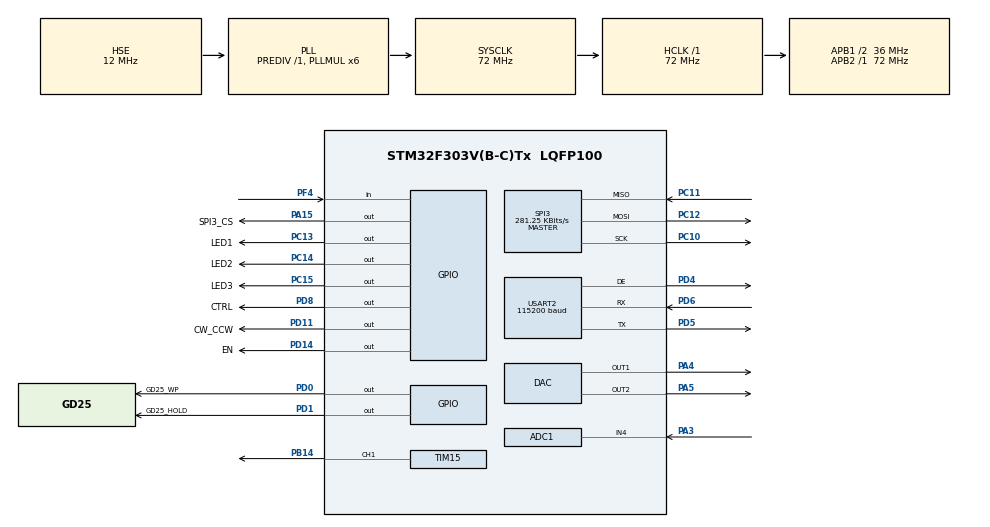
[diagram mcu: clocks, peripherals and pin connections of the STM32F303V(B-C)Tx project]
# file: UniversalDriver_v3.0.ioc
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ADC1.Channel-0\#ChannelRegularConversion=ADC_CHANNEL_4
ADC1.NbrOfConversionFlag=1
ADC1.Offset-0\#ChannelRegularConversion=0
ADC1.OffsetNumber-0\#ChannelRegularConversion=ADC_OFFSET_NONE
ADC1.Rank-0\#ChannelRegularConversion=1
ADC1.SamplingTime-0\#ChannelRegularConversion=ADC_SAMPLETIME_1CYCLE_5
ADC1.SamplingTimeOPAMP-0\#ChannelRegularConversion=ADC_SAMPLETIME_61CYCLES_5
ADC1.master=1
FREERTOS.INCLUDE_vTaskDelayUntil=1
FREERTOS.Tasks01=mainTask,0,512,MainTask,Default,NULL,Dynamic,NULL,NULL;modBus,0,512,ModBus,Default,NULL,Dynamic,NULL,NULL;Motor_pool,0,256,motor_pool,Default,NULL,Dynamic,NULL,NULL
FREERTOS.configTOTAL_HEAP_SIZE=20480
FREERTOS.configUSE_NEWLIB_REENTRANT=1
Mcu.Family=STM32F3
Mcu.Name=STM32F303V(B-C)Tx
Mcu.Package=LQFP100
NVIC.PriorityGroup=NVIC_PRIORITYGROUP_4
NVIC.TIM1_BRK_TIM15_IRQn=true\:5\:0\:false\:false\:true\:true\:true\:true\:true
NVIC.TIM1_TRG_COM_TIM17_IRQn=true\:5\:0\:false\:false\:true\:true\:true\:true\:true
NVIC.TIM4_IRQn=true\:5\:0\:false\:false\:true\:true\:true\:true\:true
NVIC.TIM6_DAC_IRQn=true\:5\:0\:false\:false\:true\:true\:true\:true\:true
NVIC.TIM7_IRQn=true\:0\:0\:false\:false\:true\:false\:false\:true\:true
NVIC.TimeBase=TIM7_IRQn
NVIC.TimeBaseIP=TIM7
NVIC.USART2_IRQn=true\:5\:0\:false\:false\:true\:true\:true\:true\:true
PA13.Mode=Serial_Wire
PA13.Signal=SYS_JTMS-SWDIO
PA14.Mode=Serial_Wire
PA14.Signal=SYS_JTCK-SWCLK
PA15.GPIO_Label=SPI3_CS
PA15.Signal=GPIO_Output
PA3.Mode=IN4-Single-Ended
PA3.Signal=ADC1_IN4
PA4.Signal=COMP_DAC1_group
PA5.Signal=COMP_DAC2_group
PB14.Signal=S_TIM15_CH1
PC10.Mode=Full_Duplex_Master
PC10.Signal=SPI3_SCK
PC11.Mode=Full_Duplex_Master
PC11.Signal=SPI3_MISO
PC12.Mode=Full_Duplex_Master
PC12.Signal=SPI3_MOSI
PC13.GPIO_Label=LED1
PC13.Signal=GPIO_Output
PC14-OSC32_IN.GPIO_Label=LED2
PC14-OSC32_IN.Signal=GPIO_Output
PC15-OSC32_OUT.GPIO_Label=LED3
PC15-OSC32_OUT.Signal=GPIO_Output
PD0.GPIO_Label=GD25_WP
PD0.Signal=GPIO_Output
PD1.GPIO_Label=GD25_HOLD
PD1.Signal=GPIO_Output
PD11.GPIO_Label=CW_CCW
PD11.Signal=GPIO_Output
PD14.GPIO_Label=EN
PD14.Signal=GPIO_Output
PD4.Mode=Hardware Flow Control (RS485)
PD4.Signal=USART2_DE
PD5.Mode=Asynchronous
PD5.Signal=USART2_TX
PD6.Mode=Asynchronous
PD6.Signal=USART2_RX
PD8.GPIO_Label=CTRL
PD8.Signal=GPIO_Output
PF0-OSC_IN.Mode=HSE-External-Oscillator
PF0-OSC_IN.Signal=RCC_OSC_IN
PF1-OSC_OUT.Mode=HSE-External-Oscillator
PF1-OSC_OUT.Signal=RCC_OSC_OUT
PF4.Signal=GPIO_Input
ProjectManager.HeapSize=0x1000
ProjectManager.StackSize=0x400
ProjectManager.TargetToolchain=STM32CubeIDE
RCC.AHBFreq_Value=72000000
RCC.APB1CLKDivider=RCC_HCLK_DIV2
RCC.APB1Freq_Value=36000000
RCC.APB1TimFreq_Value=72000000
RCC.APB2Freq_Value=72000000
RCC.APB2TimFreq_Value=72000000
RCC.CortexFreq_Value=72000000
RCC.HCLKFreq_Value=72000000
RCC.HSE_VALUE=12000000
RCC.HSI_VALUE=8000000
RCC.LSE_VALUE=32768
RCC.PLLMUL=RCC_PLL_MUL6
RCC.PLLSourceVirtual=RCC_PLLSOURCE_HSE
RCC.PRESCALERUSB=RCC_USBCLKSOURCE_PLL_DIV1_5
RCC.SYSCLKFreq_VALUE=72000000
RCC.SYSCLKSourceVirtual=RCC_SYSCLKSOURCE_PLLCLK
RCC.USBFreq_Value=48000000
SH.COMP_DAC1_group.0=DAC_OUT1,DAC_OUT1
SH.COMP_DAC2_group.0=DAC_OUT2,Enable_DAC_OUT2
SH.S_TIM15_CH1.0=TIM15_CH1,PWM Generation1 CH1
SPI3.BaudRatePrescaler=SPI_BAUDRATEPRESCALER_128
SPI3.CalculateBaudRate=281.25 KBits/s
SPI3.DataSize=SPI_DATASIZE_8BIT
SPI3.Direction=SPI_DIRECTION_2LINES
SPI3.Mode=SPI_MODE_MASTER
SPI3.VirtualType=VM_MASTER
TIM1.AutoReloadPreload=TIM_AUTORELOAD_PRELOAD_ENABLE
TIM1.Period=48000
TIM1.Prescaler=0
TIM1.TIM_MasterOutputTrigger=TIM_TRGO_OC1REF
TIM15.Channel-PWM\ Generation1\ CH1=TIM_CHANNEL_1
TIM15.Period=48000
TIM15.Prescaler=0
TIM4.Prescaler=1
TIM6.Prescaler=71
USART2.BaudRate=115200
USART2.VirtualMode-Asynchronous=VM_ASYNC
USART2.VirtualMode-Hardware\ Flow\ Control\ (RS485)=VM_ASYNC
VP_FREERTOS_VS_CMSIS_V1.Mode=CMSIS_V1
VP_SYS_VS_tim7.Mode=TIM7
VP_TIM15_VS_ClockSourceINT.Mode=Internal
VP_TIM16_VS_ClockSourceINT.Mode=Enable_Timer
VP_TIM17_VS_ClockSourceINT.Mode=Enable_Timer
VP_TIM1_VS_ClockSourceINT.Mode=Internal
VP_TIM4_VS_ClockSourceITR.Mode=TriggerSource_ITR0
VP_TIM4_VS_ControllerModeClock.Mode=Clock Mode
VP_TIM6_VS_ClockSourceINT.Mode=Enable_Timer
board=custom

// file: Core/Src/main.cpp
/* USER CODE BEGIN Header */
/**
******************************************************************************
* @file           : main.c
* @brief          : Main program body
******************************************************************************
* @attention
*
* <h2><center>&copy; Copyright (c) 2020 STMicroelectronics.
* All rights reserved.</center></h2>
*
* This software component is licensed by ST under Ultimate Liberty license
* SLA0044, the "License"; You may not use this file except in compliance with
* the License. You may obtain a copy of the License at:
*                             www.st.com/SLA0044
*
******************************************************************************
*/
/* USER CODE END Header */
#include "main.h"
#include "cmsis_os.h"
#include "adc.h"
#include "dac.h"
#include "spi.h"
#include "tim.h"
#include "usart.h"
#include "gpio.h"

/* USER CODE BEGIN Includes */
#include "motor.h"
#include "flash.h"
#include "Delay_us_DWT.h"
#include "LED.h"
/* USER CODE END Includes */

/* USER CODE BEGIN PM */
extern DAC_HandleTypeDef hdac;
/* USER CODE END PM */

/* USER CODE BEGIN PV */
char str_rx[21]; // для usb
uint32_t count_tic = 0; //для замеров времени выполнения кода
extern TIM_HandleTypeDef htim3;
extern TIM_HandleTypeDef htim4;
extern TIM_HandleTypeDef htim15;
extern TIM_HandleTypeDef htim6;
settings_t settings = {115200, 0x0D, 0};
bool resetSettings = false;

extern_driver ext_drive(&hdac, DAC_CHANNEL_1, &htim4, &htim15, TIM_CHANNEL_1, &htim6);
//BLDC_motor BLDC(&htim8, &htim1, &htim2, &htim3);
led LED_rs485;
led LED_error;
led LED_OSstart;

base_motor *pMotor;
/* USER CODE END PV */

void SystemClock_Config(void);
void MX_FREERTOS_Init(void);

int main(void)
{

  /* MCU Configuration--------------------------------------------------------*/

  /* Reset of all peripherals, Initializes the Flash interface and the Systick. */
  HAL_Init();

  /* Configure the system clock */
  SystemClock_Config();

  /* Initialize all configured peripherals */
  MX_GPIO_Init();
  MX_DAC_Init();
  MX_TIM1_Init();
  MX_TIM4_Init();
  MX_TIM6_Init();
  MX_TIM16_Init();
  MX_TIM17_Init();
  MX_ADC1_Init();
  MX_SPI3_Init();
  MX_TIM15_Init();
  MX_USART2_UART_Init();
  /* USER CODE BEGIN 2 */
  DWT_Init();

  Flash_ReadParams(&settings, StartSettingsAddres);

  if((settings.BaudRate == 0) | (settings.BaudRate == 0xFFFFFFFF) | resetSettings)
    {

      settings.BaudRate = 115200;
      settings.SlaveAddress = 0x0D;
      settings.motorType = 0;
      settings.Accel = 100;
      settings.CurrentStop = 200;
      settings.LowPWR = 1;
      FLASH_WriteSettings(settings, StartSettingsAddres);
    }
   //HAL_TIM_PWM_Start_IT(&htim17, TIM_CHANNEL_1); // start PWM
  //HAL_GPIO_WritePin(PWR_5V_GPIO_Port, PWR_5V_Pin, GPIO_PIN_SET);

   //HAL_TIM_OC_Start(&htim8, TIM_CHANNEL_4);

  //pMotor = &BLDC;
  pMotor = &ext_drive;

  HAL_Delay(500);
  /* USER CODE END 2 */

  /* Call init function for freertos objects (in freertos.c) */
  MX_FREERTOS_Init();
  /* Start scheduler */
  osKernelStart();

  /* We should never get here as control is now taken by the scheduler */
  /* Infinite loop */
   while (1)
   {

  }
}

void SystemClock_Config(void)
{
  RCC_OscInitTypeDef RCC_OscInitStruct = {0};
  RCC_ClkInitTypeDef RCC_ClkInitStruct = {0};
  RCC_PeriphCLKInitTypeDef PeriphClkInit = {0};

  /** Initializes the RCC Oscillators according to the specified parameters
  * in the RCC_OscInitTypeDef structure.
  */
  RCC_OscInitStruct.OscillatorType = RCC_OSCILLATORTYPE_HSE;
  RCC_OscInitStruct.HSEState = RCC_HSE_ON;
  RCC_OscInitStruct.HSEPredivValue = RCC_HSE_PREDIV_DIV1;
  RCC_OscInitStruct.HSIState = RCC_HSI_ON;
  RCC_OscInitStruct.PLL.PLLState = RCC_PLL_ON;
  RCC_OscInitStruct.PLL.PLLSource = RCC_PLLSOURCE_HSE;
  RCC_OscInitStruct.PLL.PLLMUL = RCC_PLL_MUL6;
  if (HAL_RCC_OscConfig(&RCC_OscInitStruct) != HAL_OK)
  {
    Error_Handler();
  }
  /** Initializes the CPU, AHB and APB buses clocks
  */
  RCC_ClkInitStruct.ClockType = RCC_CLOCKTYPE_HCLK|RCC_CLOCKTYPE_SYSCLK
                              |RCC_CLOCKTYPE_PCLK1|RCC_CLOCKTYPE_PCLK2;
  RCC_ClkInitStruct.SYSCLKSource = RCC_SYSCLKSOURCE_PLLCLK;
  RCC_ClkInitStruct.AHBCLKDivider = RCC_SYSCLK_DIV1;
  RCC_ClkInitStruct.APB1CLKDivider = RCC_HCLK_DIV2;
  RCC_ClkInitStruct.APB2CLKDivider = RCC_HCLK_DIV1;

  if (HAL_RCC_ClockConfig(&RCC_ClkInitStruct, FLASH_LATENCY_2) != HAL_OK)
  {
    Error_Handler();
  }
  PeriphClkInit.PeriphClockSelection = RCC_PERIPHCLK_USART2|RCC_PERIPHCLK_TIM1
                              |RCC_PERIPHCLK_ADC12;
  PeriphClkInit.Usart2ClockSelection = RCC_USART2CLKSOURCE_PCLK1;
  PeriphClkInit.Adc12ClockSelection = RCC_ADC12PLLCLK_DIV1;
  PeriphClkInit.Tim1ClockSelection = RCC_TIM1CLK_HCLK;
  if (HAL_RCCEx_PeriphCLKConfig(&PeriphClkInit) != HAL_OK)
  {
    Error_Handler();
  }
}

/* USER CODE BEGIN 4 */
void HAL_TIM_IC_CaptureCallback(TIM_HandleTypeDef *htim){
  if(htim->Instance == TIM2){
    pMotor->SensHandler();
  }
}
void ledBlink(){
  LED_rs485.LEDon(0);
}

/* USER CODE END 4 */

void HAL_TIM_PeriodElapsedCallback(TIM_HandleTypeDef *htim)
{
  /* USER CODE BEGIN Callback 0 */
  //   if(htim->Instance == TIM2){
  //     pMotor->stop();
  //   }
  if(htim->Instance == TIM4){
    //HAL_TIM_OC_Stop(&htim8, TIM_CHANNEL_4);
    pMotor->StepsAllHandler(TIM4->CNT);
  }
  if(htim->Instance == TIM6){
    //pMotor->AccelHandler();
  }
  /* USER CODE END Callback 0 */
  if (htim->Instance == TIM7) {
    HAL_IncTick();
  }
}

void Error_Handler(void)
{
}
